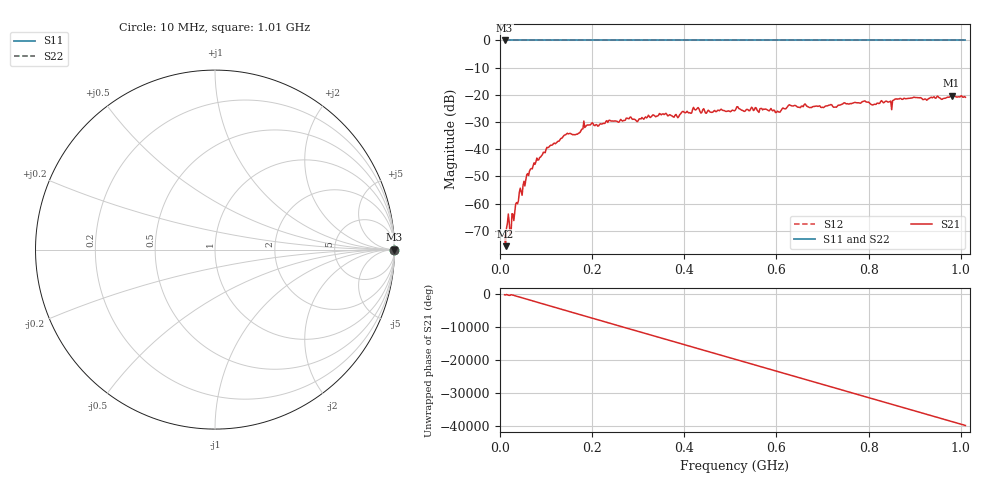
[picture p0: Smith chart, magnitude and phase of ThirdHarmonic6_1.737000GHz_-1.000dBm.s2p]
! 8/16/2025 8:56:12 PM
! C:\ANRITSUVNA\TEMP\TEMP.S2P
! CHANNEL.1
! TR.MEASUREMENT
! RAW.DATA
! RF.CORRECTION.OFF
! AVERAGING.OFF
! IF.BANDWIDTH: 5KHZ
! SWEEPTYPE:  FREQ.SWEEP(Linear)
! Reference Plane Port Info
! PORT:  PORT1  PORT2
! DISTANCE:  0  m  0  m
! TIME:  0  s  0  s
! PHASE.OFFSET:  0  deg.  0  deg.
! LOSS:  0  dB  0  dB
! REF.LOSS:  0  dB  0  dB
! REF.FREQ:  0  Hz  0  Hz
! Power Info
! POWER:  -20  dBm  -20  dBm
! EFF.POWER:  -20  dBm  -20  dBm
! SOURCE.ATTEN:  0  dB  0  dB
! TEST.ATTEN:  0  dB  0  dB
# GHZ S RI R 50.0
! FREQ.GHZ  S11RE  S11IM  S21RE  S21IM  S12RE  S12IM  S22RE  S22IM
!; PortSelection: Port_12
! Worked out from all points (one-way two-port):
!   501 points, 10 MHz to 1.01 GHz, reference 50 ohm
!   highest |S21| = -20.26 dB at 980 MHz (marker M1); lowest = -75.7 dB at 12 MHz (marker M2)
!   lowest |S11| = 0.0 dB at 10 MHz (marker M3)
!   |S11| at or under -10 dB: nowhere
!   |S22| runs from 0.0 to 0.0 dB; largest |S21 - S12| = 1.1
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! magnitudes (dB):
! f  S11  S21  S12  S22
! 10 MHz  0.0  -71.7  0.0  0.0
! 12 MHz  0.0  -75.7  0.0  0.0
! 18 MHz  0.0  -63.9  0.0  0.0
! 26 MHz  0.0  -63.7  0.0  0.0
! 30 MHz  0.0  -66.3  0.0  0.0
! 40 MHz  0.0  -59.0  0.0  0.0
! 56 MHz  0.0  -51.3  0.0  0.0
! 76 MHz  0.0  -45.6  0.0  0.0
! 106 MHz  0.0  -39.2  0.0  0.0
! 142 MHz  0.0  -34.7  0.0  0.0
! 170 MHz  0.0  -34.2  0.0  0.0
! 178 MHz  0.0  -32.6  0.0  0.0
! 344 MHz  0.0  -27.5  0.0  0.0
! 388 MHz  0.0  -28.0  0.0  0.0
! 424 MHz  0.0  -25.6  0.0  0.0
! 510 MHz  0.0  -25.8  0.0  0.0
! 602 MHz  0.0  -26.0  0.0  0.0
! 630 MHz  0.0  -23.9  0.0  0.0
! 678 MHz  0.0  -24.4  0.0  0.0
! 844 MHz  0.0  -22.6  0.0  0.0
! 980 MHz  0.0  -20.3  0.0  0.0
! 1.01 GHz  0.0  -20.9  0.0  0.0
